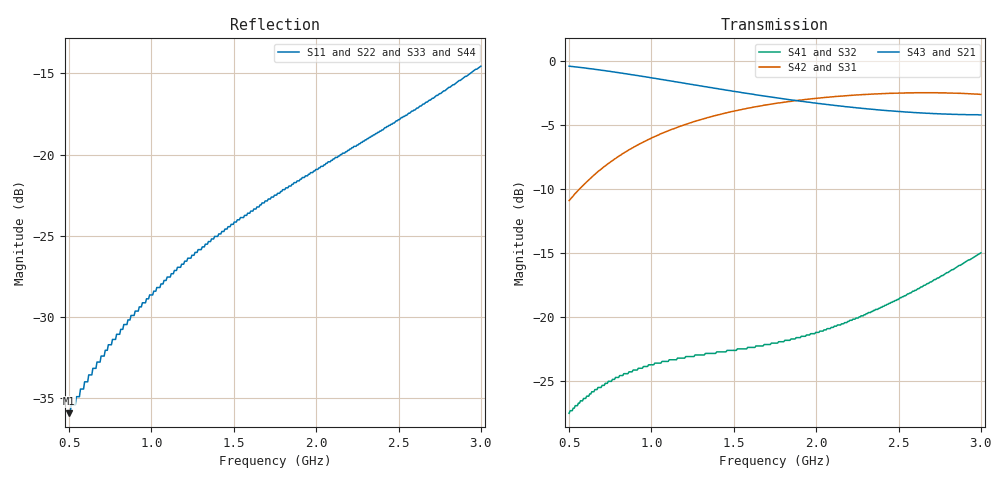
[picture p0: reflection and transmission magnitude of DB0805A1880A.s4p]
!	AVX THIN FILM OPERATION
!	0805 SIZE 3dB 90deg COUPLER P/N DB0805A1880AWTR
!	Created March 23 2003
!	Network Analyzer HP8720E S.07.64: Feb23, 2000 Serial No.US39172382
#	MHZ	S	MA	R	50
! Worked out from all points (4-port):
!   400 points, 500 MHz to 3 GHz, reference 50 ohm
!   strongest paths, dB at 500 MHz, 1.127 GHz, 1.753 GHz, 2.38 GHz, 3 GHz:
!     S43: -0.4, -1.6, -2.9, -3.8, -4.2
!     S21: -0.4, -1.6, -2.9, -3.8, -4.2
!     S42: -10.9, -5.3, -3.3, -2.6, -2.6
!     S31: -10.9, -5.3, -3.3, -2.6, -2.6
!     S41: -27.5, -23.3, -22.0, -19.3, -15.0
!     S32: -27.5, -23.3, -22.0, -19.3, -15.0
!   lowest |S11| = -35.9 dB at 500 MHz (marker M1), VSWR 1.03, Z = 48.6 - j0.749 ohm
!   |S11| at or under -10 dB: start of sweep to end of sweep
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500  0.016 -151.2  0.955 -19.2  0.285 70.6  0.042 65.4
     0.955 -19.2  0.016 -151.2  0.042 65.4  0.285 70.6
     0.285 70.6  0.042 65.4  0.016 -151.2  0.955 -19.2
     0.042 65.4  0.285 70.6  0.955 -19.2  0.016 -151.2
675.439  0.023 -172.6  0.925 -25.4  0.37 64.4  0.053 58.5
         0.925 -25.4  0.023 -172.6  0.053 58.5  0.37 64.4
         0.37 64.4  0.053 58.5  0.023 -172.6  0.925 -25.4
         0.053 58.5  0.37 64.4  0.925 -25.4  0.023 -172.6
875.94  0.032 167.3  0.885 -31.9  0.454 57.9  0.061 52.3
        0.885 -31.9  0.032 167.3  0.061 52.3  0.454 57.9
        0.454 57.9  0.061 52.3  0.032 167.3  0.885 -31.9
        0.061 52.3  0.454 57.9  0.885 -31.9  0.032 167.3
1446.115  0.059 126.5  0.771 -47.4  0.626 42.6  0.073 45.3
          0.771 -47.4  0.059 126.5  0.073 45.3  0.626 42.6
          0.626 42.6  0.073 45.3  0.059 126.5  0.771 -47.4
          0.073 45.3  0.626 42.6  0.771 -47.4  0.059 126.5
2185.464  0.102 94.5  0.663 -62.9  0.732 27.9  0.095 53.5
          0.663 -62.9  0.102 94.5  0.095 53.5  0.732 27.9
          0.732 27.9  0.095 53.5  0.102 94.5  0.663 -62.9
          0.095 53.5  0.732 27.9  0.663 -62.9  0.102 94.5
2598.997  0.137 81.5  0.629 -70.8  0.752 21.1  0.127 57.3
          0.629 -70.8  0.137 81.5  0.127 57.3  0.752 21.1
          0.752 21.1  0.127 57.3  0.137 81.5  0.629 -70.8
          0.127 57.3  0.752 21.1  0.629 -70.8  0.137 81.5
3000  0.187 69.4  0.616 -79.3  0.741 14.7  0.178 56.2
      0.616 -79.3  0.187 69.4  0.178 56.2  0.741 14.7
      0.741 14.7  0.178 56.2  0.187 69.4  0.616 -79.3
      0.178 56.2  0.741 14.7  0.616 -79.3  0.187 69.4
